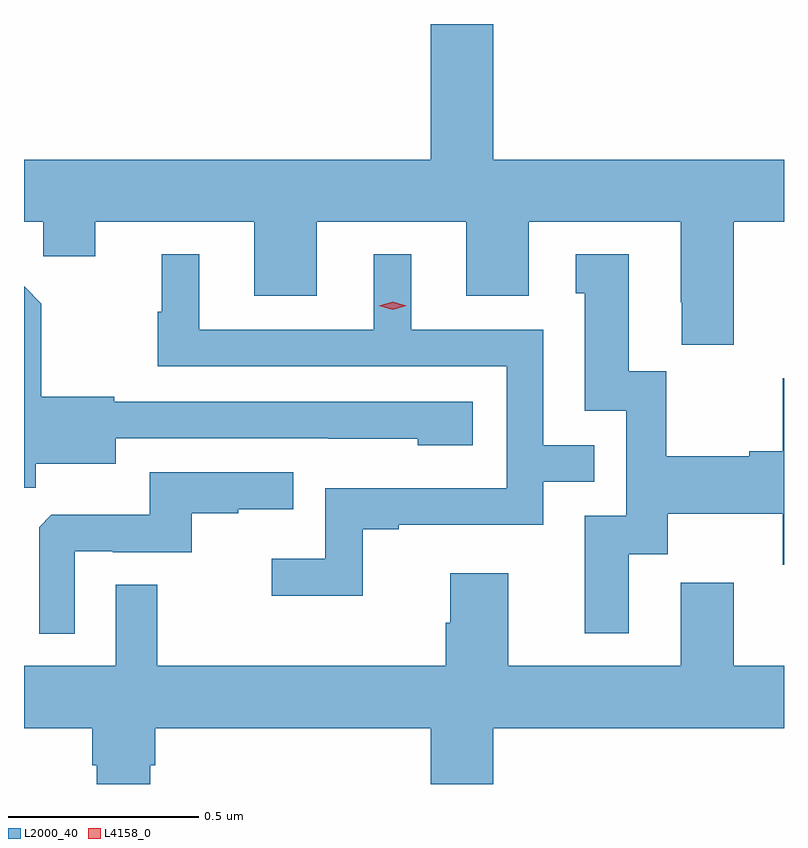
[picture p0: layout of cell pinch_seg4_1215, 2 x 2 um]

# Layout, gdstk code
import gdstk
lib = gdstk.Library(unit=1e-6, precision=1e-09)
def P(c, l, *ps):  # polygons
    for p in ps: c.add(gdstk.Polygon(p, *l))
L2000_40 = (2000, 40)
L4158_0 = (4158, 0)

pinch_seg4_1215 = lib.new_cell('pinch_seg4_1215')
P(pinch_seg4_1215, L2000_40, [(572.764,786.685),(572.6,786.685),(572.6,786.328),(571.529,786.328),(571.529,786.164),(571.579,786.164),(571.579,786.074),(571.717,786.074),(571.717,786.164),(572.135,786.164),(572.135,785.97),(572.299,785.97),(572.299,786.164),(572.693,786.164),(572.693,785.97),(572.857,785.97),(572.857,786.164),(573.257,786.164),(573.257,785.953),(573.26,785.953),(573.26,785.841),(573.397,785.841),(573.397,786.164),(573.529,786.164),(573.529,786.328),(572.764,786.328)],
  [(572.421,785.355),(572.515,785.355),(572.515,785.367),(572.895,785.367),(572.895,785.481),(573.029,785.481),(573.029,785.577),(572.895,785.577),(572.895,785.88),(572.548,785.88),(572.548,786.079),(572.45,786.079),(572.45,785.88),(571.99,785.88),(571.99,786.079),(571.892,786.079),(571.892,785.928),(571.881,785.928),(571.881,785.784),(572.799,785.784),(572.799,785.463),(572.322,785.463),(572.322,785.278),(572.181,785.278),(572.181,785.18),(572.421,785.18)],
  [(573.121,785.29),(573.223,785.29),(573.223,785.396),(573.526,785.396),(573.526,785.262),(573.529,785.262),(573.529,785.753),(573.526,785.753),(573.526,785.561),(573.437,785.561),(573.437,785.548),(573.219,785.548),(573.219,785.771),(573.121,785.771),(573.121,786.079),(572.981,786.079),(572.981,785.976),(573.005,785.976),(573.005,785.667),(573.114,785.667),(573.114,785.391),(573.005,785.391),(573.005,785.082),(573.121,785.082)],
  [(571.56,785.528),(571.771,785.528),(571.771,785.595),(572.329,785.595),(572.329,785.594),(572.565,785.594),(572.565,785.576),(572.71,785.576),(572.71,785.691),(571.767,785.691),(571.767,785.704),(571.575,785.704),(571.575,785.949),(571.529,785.995),(571.529,785.464),(571.56,785.464)],
  [(571.662,785.298),(571.762,785.298),(571.762,785.295),(571.97,785.295),(571.97,785.397),(572.093,785.397),(572.093,785.408),(572.237,785.408),(572.237,785.505),(571.86,785.505),(571.86,785.393),(571.601,785.393),(571.569,785.361),(571.569,785.081),(571.662,785.081)],
  [(571.861,784.734),(571.874,784.734),(571.874,784.832),(572.6,784.832),(572.6,784.685),(572.764,784.685),(572.764,784.832),(573.529,784.832),(573.529,784.996),(573.397,784.996),(573.397,785.215),(573.257,785.215),(573.257,784.996),(572.803,784.996),(572.803,785.239),(572.651,785.239),(572.651,785.109),(572.639,785.109),(572.639,784.996),(571.879,784.996),(571.879,785.21),(571.77,785.21),(571.77,784.996),(571.529,784.996),(571.529,784.832),(571.709,784.832),(571.709,784.734),(571.721,784.734),(571.721,784.685),(571.861,784.685)])
P(pinch_seg4_1215, L4158_0, [(572.499,785.933),(572.463,785.943),(572.463,785.944),(572.463,785.944),(572.499,785.954),(572.535,785.944),(572.535,785.944),(572.535,785.943)])

lib.write_gds('pinch_seg4_1215.gds')
